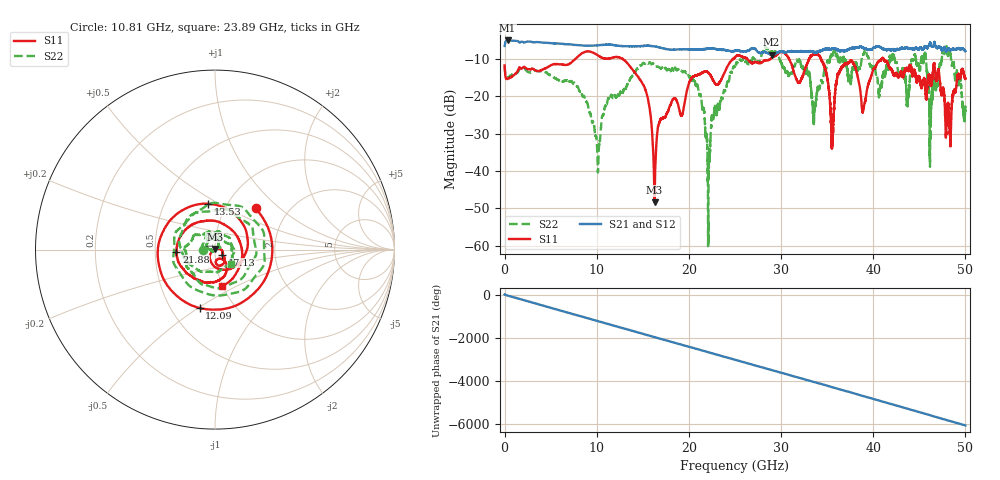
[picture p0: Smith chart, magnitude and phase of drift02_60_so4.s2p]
!Created with skrf (http://scikit-rf.org).
# Hz S RI R 50.0
!freq ReS11 ImS11 ReS21 ImS21 ReS12 ImS12 ReS22 ImS22
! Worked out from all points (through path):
!   10001 points, 300 kHz to 50 GHz, reference 50 ohm
!   highest |S21| = -5.04 dB at 325.3 MHz (marker M1); lowest = -8.9 dB at 28.97 GHz (marker M2)
!   group delay of S21, straight-line fit = 336 ps
!   lowest |S11| = -48.4 dB at 16.27 GHz (marker M3), VSWR 1.01, Z = 49.9 + j0.357 ohm
!   |S11| at or under -10 dB: start of sweep to 7.667 GHz; 12.82 GHz to 24.77 GHz (11.95 GHz wide, 63.6 % of centre); 41.14 GHz to end of sweep (the widest 3 of 13)
!   |S22| runs from -60.1 to -6.5 dB; largest |S21 - S12| = 0.031
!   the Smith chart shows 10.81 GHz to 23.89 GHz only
!   S11 on the Smith chart (normalised r, x): 10.81 GHz: 1.37, +0.70; 12.09 GHz: 0.69, -0.51; 13.53 GHz: 0.81, +0.45; 17.13 GHz: 1.09, -0.06; 21.88 GHz: 0.65, -0.02; 23.89 GHz: 0.99, -0.42
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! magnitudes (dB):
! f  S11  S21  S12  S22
! 300 kHz  -11.7  -6.5  -6.5  -11.7
! 325.3 MHz  -15.3  -5.0  -5.0  -15.1
! 8.335 GHz  -8.6  -6.4  -6.4  -19.1
! 10.11 GHz  -9.0  -6.3  -6.3  -38.7
! 10.81 GHz  -9.8  -6.2  -6.2  -23.6
! 12.09 GHz  -9.5  -6.4  -6.4  -20.4
! 13.53 GHz  -11.7  -6.6  -6.6  -16.0
! 16.27 GHz  -48.4  -6.6  -6.6  -11.7
! 16.67 GHz  -27.9  -6.8  -6.8  -12.1
! 17.13 GHz  -26.0  -7.1  -7.1  -12.4
! 20.74 GHz  -14.3  -7.4  -7.4  -16.9
! 21.88 GHz  -13.4  -7.3  -7.3  -30.4
! 23.89 GHz  -13.6  -7.6  -7.6  -18.3
! 25 GHz  -9.5  -7.8  -7.8  -12.0
! 28.97 GHz  -9.8  -8.9  -8.9  -8.0
! 33.34 GHz  -9.1  -8.0  -8.0  -20.0
! 35.55 GHz  -30.8  -7.2  -7.1  -9.1
! 36.78 GHz  -11.9  -7.9  -7.9  -9.5
! 41.67 GHz  -11.8  -7.4  -7.5  -11.8
! 46.27 GHz  -16.9  -6.2  -6.3  -22.8
! 48.11 GHz  -22.2  -7.2  -7.1  -8.8
! 50 GHz  -15.2  -7.9  -7.8  -23.0
